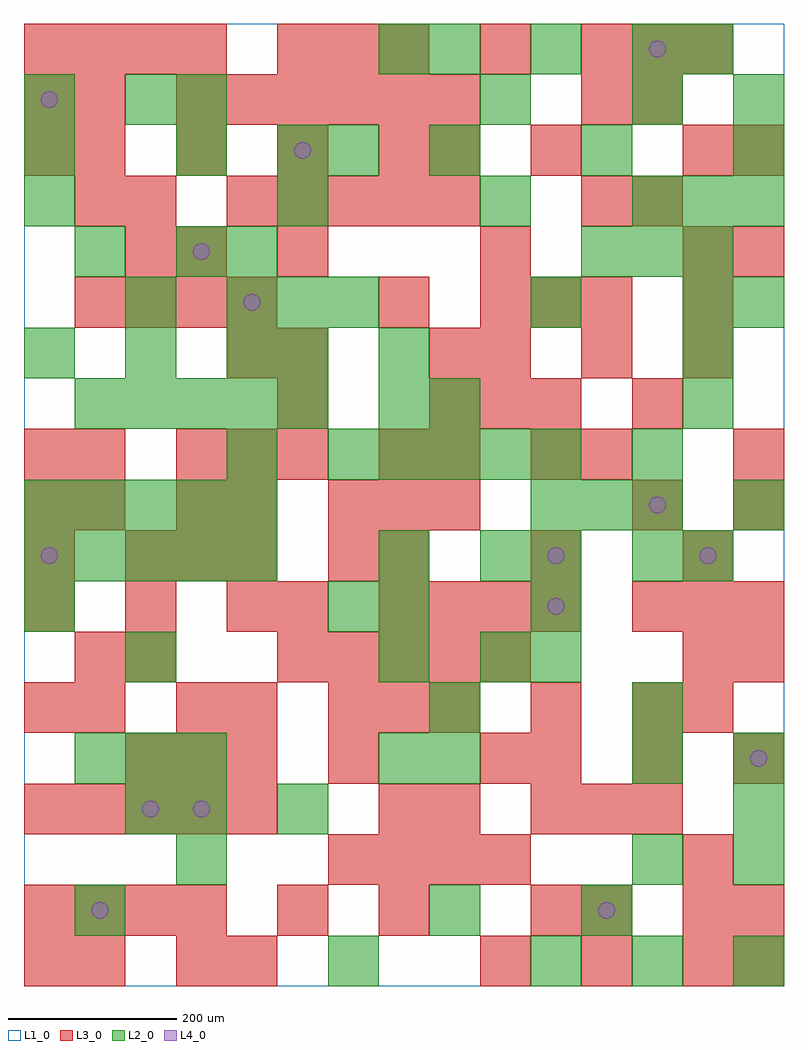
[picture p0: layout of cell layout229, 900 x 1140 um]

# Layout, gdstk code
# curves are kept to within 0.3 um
import gdstk
lib = gdstk.Library(unit=1e-6, precision=1e-09)
def R(c, l, rs):  # rectangles x0, y0, x1, y1
    for r in rs: c.add(gdstk.rectangle(r[:2], r[2:], *l))
def A(c, l, x, y, w, h, nx, ny, dx, dy):  # array of equal rectangles
    R(c, l, [(x+i*dx, y+j*dy, x+i*dx+w, y+j*dy+h) for i in range(nx) for j in range(ny)])
def P(c, l, *ps):  # polygons
    for p in ps: c.add(gdstk.Polygon(p, *l))
L1_0 = (1, 0)
L2_0 = (2, 0)
L3_0 = (3, 0)
L4_0 = (4, 0)

layout229 = lib.new_cell('layout229')
R(layout229, L1_0, [(0,0,900,1140)])
A(layout229, L2_0, 600, 0, 60, 60, 3, 1, 120, 0)
A(layout229, L2_0, 840, 120, 60, 60, 1, 3, 0, 60)
A(layout229, L2_0, 60, 240, 60, 60, 3, 1, 60, 0)
A(layout229, L2_0, 420, 360, 60, 60, 1, 3, 0, 60)
A(layout229, L2_0, 600, 360, 60, 60, 1, 3, 0, 60)
A(layout229, L2_0, 0, 480, 60, 60, 5, 2, 60, 60)
A(layout229, L2_0, 600, 540, 60, 60, 3, 1, 60, 0)
A(layout229, L2_0, 840, 540, 60, 60, 1, 3, 0, 240)
A(layout229, L2_0, 360, 600, 60, 60, 5, 1, 60, 0)
A(layout229, L2_0, 60, 660, 60, 60, 5, 1, 60, 0)
A(layout229, L2_0, 780, 660, 60, 60, 1, 3, 0, 60)
A(layout229, L2_0, 0, 720, 60, 60, 3, 1, 120, 0)
A(layout229, L2_0, 240, 780, 60, 60, 3, 1, 60, 0)
A(layout229, L2_0, 660, 840, 60, 60, 3, 1, 60, 0)
A(layout229, L2_0, 0, 900, 60, 60, 1, 3, 0, 60)
A(layout229, L2_0, 720, 900, 60, 60, 3, 1, 60, 0)
A(layout229, L2_0, 480, 960, 60, 60, 3, 1, 180, 0)
A(layout229, L2_0, 480, 1080, 60, 60, 3, 1, 120, 0)
R(layout229, L2_0, [(360,0,420,60), (60,60,120,120), (480,60,540,120), (660,60,720,120), (180,120,240,180), (720,120,780,180), (120,180,180,240), (180,180,240,240), (300,180,360,240), (420,240,480,300), (480,240,540,300), (720,240,780,300), (480,300,540,360), (720,300,780,360), (120,360,180,420), (540,360,600,420), (0,420,60,480), (360,420,420,480), (540,480,600,540), (720,480,780,540), (780,480,840,540), (240,600,300,660), (720,600,780,660), (420,660,480,720), (480,660,540,720), (300,720,360,780), (420,720,480,780), (120,780,180,840), (600,780,660,840), (60,840,120,900), (180,840,240,900), (240,840,300,900), (300,900,360,960), (540,900,600,960), (180,960,240,1020), (300,960,360,1020), (360,960,420,1020), (120,1020,180,1080), (180,1020,240,1080), (540,1020,600,1080), (720,1020,780,1080), (420,1080,480,1140), (780,1080,840,1140)])
A(layout229, L3_0, 540, 0, 60, 60, 3, 2, 120, 720)
A(layout229, L3_0, 0, 60, 60, 60, 4, 2, 60, 1020)
A(layout229, L3_0, 360, 120, 60, 60, 4, 1, 60, 0)
A(layout229, L3_0, 0, 180, 60, 60, 5, 1, 60, 0)
A(layout229, L3_0, 600, 180, 60, 60, 3, 1, 60, 0)
A(layout229, L3_0, 120, 240, 60, 60, 3, 2, 60, 240)
A(layout229, L3_0, 600, 240, 60, 60, 3, 1, 120, 0)
A(layout229, L3_0, 360, 300, 60, 60, 3, 2, 60, 240)
A(layout229, L3_0, 300, 360, 60, 60, 5, 1, 60, 0)
A(layout229, L3_0, 0, 420, 60, 60, 3, 1, 120, 0)
A(layout229, L3_0, 420, 420, 60, 60, 4, 1, 60, 0)
A(layout229, L3_0, 720, 420, 60, 60, 3, 1, 60, 0)
A(layout229, L3_0, 0, 480, 60, 60, 1, 3, 0, 60)
A(layout229, L3_0, 420, 480, 60, 60, 3, 1, 180, 0)
A(layout229, L3_0, 180, 600, 60, 60, 3, 1, 60, 0)
A(layout229, L3_0, 480, 660, 60, 60, 3, 1, 60, 0)
A(layout229, L3_0, 60, 780, 60, 60, 4, 1, 60, 0)
A(layout229, L3_0, 540, 780, 60, 60, 3, 1, 60, 0)
A(layout229, L3_0, 300, 840, 60, 60, 3, 1, 240, 0)
A(layout229, L3_0, 240, 900, 60, 60, 5, 1, 60, 0)
A(layout229, L3_0, 60, 960, 60, 60, 4, 1, 120, 0)
A(layout229, L3_0, 180, 1020, 60, 60, 6, 1, 60, 0)
A(layout229, L3_0, 300, 1080, 60, 60, 3, 1, 60, 0)
A(layout229, L3_0, 660, 1080, 60, 60, 3, 1, 60, 0)
R(layout229, L3_0, [(0,0,60,60), (60,0,120,60), (180,0,240,60), (240,0,300,60), (840,0,900,60), (300,60,360,120), (420,60,480,120), (600,60,660,120), (660,60,720,120), (780,60,840,120), (840,60,900,120), (780,120,840,180), (420,180,480,240), (480,180,540,240), (360,240,420,300), (540,240,600,300), (0,300,60,360), (60,300,120,360), (180,300,240,360), (240,300,300,360), (600,300,660,360), (720,300,780,360), (780,300,840,360), (60,360,120,420), (120,360,180,420), (780,360,840,420), (840,360,900,420), (300,420,360,480), (360,480,420,540), (60,540,120,600), (180,540,240,600), (240,540,300,600), (720,540,780,600), (840,540,900,600), (60,600,120,660), (420,600,480,660), (480,600,540,660), (600,600,660,660), (660,600,720,660), (840,600,900,660), (300,660,360,720), (720,660,780,720), (240,720,300,780), (300,720,360,780), (480,720,540,780), (420,780,480,840), (780,780,840,840), (120,840,180,900), (180,840,240,900), (840,840,900,900), (60,900,120,960), (120,900,180,960), (660,900,720,960), (720,900,780,960), (0,960,60,1020), (480,960,540,1020), (600,960,660,1020), (780,960,840,1020), (840,960,900,1020), (0,1020,60,1080), (60,1020,120,1080), (660,1020,720,1080), (720,1020,780,1080), (540,1080,600,1140)])
P(layout229, L4_0, [(40,510),(39.239,513.827),(37.071,517.071),(33.827,519.239),(30,520),(26.173,519.239),(22.929,517.071),(20.761,513.827),(20,510),(20.761,506.173),(22.929,502.929),(26.173,500.761),(30,500),(33.827,500.761),(37.071,502.929),(39.239,506.173)],
  [(40,1050),(39.239,1053.827),(37.071,1057.071),(33.827,1059.239),(30,1060),(26.173,1059.239),(22.929,1057.071),(20.761,1053.827),(20,1050),(20.761,1046.173),(22.929,1042.929),(26.173,1040.761),(30,1040),(33.827,1040.761),(37.071,1042.929),(39.239,1046.173)],
  [(100,90),(99.239,93.827),(97.071,97.071),(93.827,99.239),(90,100),(86.173,99.239),(82.929,97.071),(80.761,93.827),(80,90),(80.761,86.173),(82.929,82.929),(86.173,80.761),(90,80),(93.827,80.761),(97.071,82.929),(99.239,86.173)],
  [(160,210),(159.239,213.827),(157.071,217.071),(153.827,219.239),(150,220),(146.173,219.239),(142.929,217.071),(140.761,213.827),(140,210),(140.761,206.173),(142.929,202.929),(146.173,200.761),(150,200),(153.827,200.761),(157.071,202.929),(159.239,206.173)],
  [(220,210),(219.239,213.827),(217.071,217.071),(213.827,219.239),(210,220),(206.173,219.239),(202.929,217.071),(200.761,213.827),(200,210),(200.761,206.173),(202.929,202.929),(206.173,200.761),(210,200),(213.827,200.761),(217.071,202.929),(219.239,206.173)],
  [(220,870),(219.239,873.827),(217.071,877.071),(213.827,879.239),(210,880),(206.173,879.239),(202.929,877.071),(200.761,873.827),(200,870),(200.761,866.173),(202.929,862.929),(206.173,860.761),(210,860),(213.827,860.761),(217.071,862.929),(219.239,866.173)],
  [(280,810),(279.239,813.827),(277.071,817.071),(273.827,819.239),(270,820),(266.173,819.239),(262.929,817.071),(260.761,813.827),(260,810),(260.761,806.173),(262.929,802.929),(266.173,800.761),(270,800),(273.827,800.761),(277.071,802.929),(279.239,806.173)],
  [(340,990),(339.239,993.827),(337.071,997.071),(333.827,999.239),(330,1000),(326.173,999.239),(322.929,997.071),(320.761,993.827),(320,990),(320.761,986.173),(322.929,982.929),(326.173,980.761),(330,980),(333.827,980.761),(337.071,982.929),(339.239,986.173)],
  [(640,450),(639.239,453.827),(637.071,457.071),(633.827,459.239),(630,460),(626.173,459.239),(622.929,457.071),(620.761,453.827),(620,450),(620.761,446.173),(622.929,442.929),(626.173,440.761),(630,440),(633.827,440.761),(637.071,442.929),(639.239,446.173)],
  [(640,510),(639.239,513.827),(637.071,517.071),(633.827,519.239),(630,520),(626.173,519.239),(622.929,517.071),(620.761,513.827),(620,510),(620.761,506.173),(622.929,502.929),(626.173,500.761),(630,500),(633.827,500.761),(637.071,502.929),(639.239,506.173)],
  [(700,90),(699.239,93.827),(697.071,97.071),(693.827,99.239),(690,100),(686.173,99.239),(682.929,97.071),(680.761,93.827),(680,90),(680.761,86.173),(682.929,82.929),(686.173,80.761),(690,80),(693.827,80.761),(697.071,82.929),(699.239,86.173)],
  [(760,570),(759.239,573.827),(757.071,577.071),(753.827,579.239),(750,580),(746.173,579.239),(742.929,577.071),(740.761,573.827),(740,570),(740.761,566.173),(742.929,562.929),(746.173,560.761),(750,560),(753.827,560.761),(757.071,562.929),(759.239,566.173)],
  [(760,1110),(759.239,1113.827),(757.071,1117.071),(753.827,1119.239),(750,1120),(746.173,1119.239),(742.929,1117.071),(740.761,1113.827),(740,1110),(740.761,1106.173),(742.929,1102.929),(746.173,1100.761),(750,1100),(753.827,1100.761),(757.071,1102.929),(759.239,1106.173)],
  [(820,510),(819.239,513.827),(817.071,517.071),(813.827,519.239),(810,520),(806.173,519.239),(802.929,517.071),(800.761,513.827),(800,510),(800.761,506.173),(802.929,502.929),(806.173,500.761),(810,500),(813.827,500.761),(817.071,502.929),(819.239,506.173)],
  [(880,270),(879.239,273.827),(877.071,277.071),(873.827,279.239),(870,280),(866.173,279.239),(862.929,277.071),(860.761,273.827),(860,270),(860.761,266.173),(862.929,262.929),(866.173,260.761),(870,260),(873.827,260.761),(877.071,262.929),(879.239,266.173)])

lib.write_gds('layout229.gds')
